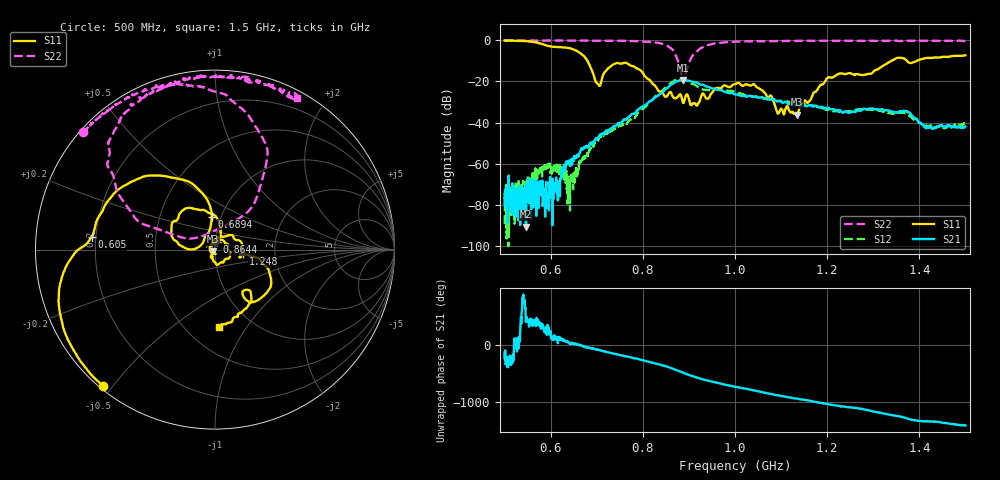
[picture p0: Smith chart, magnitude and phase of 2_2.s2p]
!Agilent Technologies,E8364B,US42250235,A.06.04.32
!Agilent E8364B: A.06.04.32
!Date: Friday, January 15, 2021 14:42:54
!Correction: S11(Full 2 Port(1,2)) S21(Full 2 Port(1,2)) S12(Full 2 Port(1,2)) S22(Full 2 Port(1,2))
!S2P File: Measurements: S11, S21, S12, S22:
# Hz S  dB  R 50
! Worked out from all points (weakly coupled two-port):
!   1601 points, 500 MHz to 1.5 GHz, reference 50 ohm
!   highest |S21| = -19.27 dB at 886.9 MHz (marker M1); lowest = -90.6 dB at 546.2 MHz (marker M2)
!   lowest |S11| = -36.1 dB at 1.134 GHz (marker M3), VSWR 1.03, Z = 48.7 - j0.827 ohm
!   |S11| at or under -10 dB: 679.7 MHz to 1.34 GHz (660 MHz wide, 65.4 % of centre); 1.373 GHz to 1.395 GHz (22.1 MHz wide, 1.6 % of centre)
!   |S22| runs from -20.3 to -0.1 dB; largest |S21 - S12| = 0.021
!   S11 on the Smith chart (normalised r, x): 500 MHz: 0.01, -0.47; 605 MHz: 0.18, +0.05; 689.4 MHz: 0.90, +0.34; 864.4 MHz: 1.01, +0.09; 1.248 GHz: 1.37, -0.07; 1.5 GHz: 0.71, -0.75
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5e8  -0.15 -129.5  -79.92 -135.9  -89.28 155.9  -0.15 138.4
5.4625e8  -0.46 -153.4  -90.64 37.8  -76.36 163.2  -0.15 134.4
5.71875e8  -1.30 -170.5  -79.12 -14.1  -63.68 46.2  -0.17 131.4
6.05e8  -3.21 174.2  -71.14 112.3  -61.88 -70.5  -0.20 127.8
6.175e8  -3.34 169.0  -71.06 102.8  -60.75 -106.6  -0.18 127.7
6.4e8  -3.84 150.8  -59.11 38.2  -75.05 177.2  -0.18 124.8
6.66875e8  -6.77 119.6  -52.98 -12.7  -59.28 26.2  -0.18 121.4
6.89375e8  -14.66 95.7  -50.56 -62.5  -52.16 -39.8  -0.22 118.7
7.04375e8  -21.84 139.2  -47.08 -86.4  -47.87 -70.6  -0.24 117.8
7.29375e8  -12.89 167.3  -43.13 -138.8  -44.38 -133.8  -0.23 113.6
7.6375e8  -10.98 125.6  -38.52 160.7  -40.52 165.0  -0.36 107.9
8.3375e8  -24.62 76.4  -26.68 23.8  -26.08 35.5  -1.30 85.8
8.64375e8  -27.14 78.3  -21.26 -53.0  -20.35 -50.2  -4.58 60.6
8.86875e8  -30.28 89.0  -19.27 -123.7  -18.90 -128.9  -19.76 95.1
9.2375e8  -29.22 89.1  -21.43 136.2  -23.47 136.6  -4.18 150.2
1e9  -21.36 -13.5  -26.32 -7.0  -25.06 -4.8  -0.71 120.5
1.134375e9  -36.12 -147.1  -31.30 147.5  -30.27 143.5  -0.34 100.1
1.166875e9  -27.44 102.6  -32.00 98.8  -31.72 94.6  -0.34 97.0
1.248125e9  -15.98 -8.7  -35.30 -3.9  -34.45 -5.4  -0.31 88.3
1.33375e9  -10.77 -17.8  -34.14 -130.0  -35.36 -135.7  -0.30 79.1
1.415625e9  -8.62 -61.7  -42.64 117.1  -41.41 116.4  -0.27 71.8
1.5e9  -7.33 -87.3  -41.94 41.2  -40.38 34.0  -0.35 61.7
